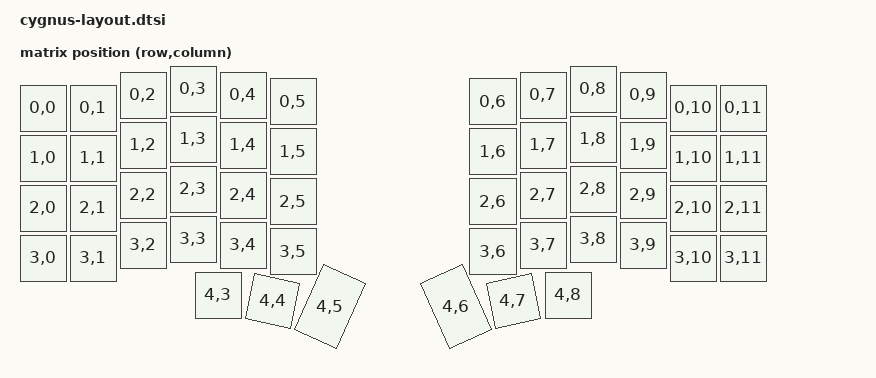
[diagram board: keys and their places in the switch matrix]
#include <dt-bindings/zmk/matrix_transform.h>
#include <physical_layouts.dtsi>

// Physical layout and matrix transform shared by the halves and the dongle.

/ {
    chosen {
        zmk,physical-layout = &physical_layout;
    };

    physical_layout: cygnus_layout {
        compatible = "zmk,physical-layout";
        display-name = "Cygnus";
        transform = <&default_transform>;

        // In hundredths of a key: w h x y rotation (hundredths of a degree) pivot-x pivot-y. The thumbs are
        // ZMK's Corne thumb fan moved under each half, so they are only roughly where the real ones are.
        keys
            = <&key_physical_attrs 100 100     0   38       0     0     0>
            , <&key_physical_attrs 100 100   100   38       0     0     0>
            , <&key_physical_attrs 100 100   200   12       0     0     0>
            , <&key_physical_attrs 100 100   300    0       0     0     0>
            , <&key_physical_attrs 100 100   400   12       0     0     0>
            , <&key_physical_attrs 100 100   500   25       0     0     0>
            , <&key_physical_attrs 100 100   900   25       0     0     0>
            , <&key_physical_attrs 100 100  1000   12       0     0     0>
            , <&key_physical_attrs 100 100  1100    0       0     0     0>
            , <&key_physical_attrs 100 100  1200   12       0     0     0>
            , <&key_physical_attrs 100 100  1300   38       0     0     0>
            , <&key_physical_attrs 100 100  1400   38       0     0     0>
            , <&key_physical_attrs 100 100     0  138       0     0     0>
            , <&key_physical_attrs 100 100   100  138       0     0     0>
            , <&key_physical_attrs 100 100   200  112       0     0     0>
            , <&key_physical_attrs 100 100   300  100       0     0     0>
            , <&key_physical_attrs 100 100   400  112       0     0     0>
            , <&key_physical_attrs 100 100   500  125       0     0     0>
            , <&key_physical_attrs 100 100   900  125       0     0     0>
            , <&key_physical_attrs 100 100  1000  112       0     0     0>
            , <&key_physical_attrs 100 100  1100  100       0     0     0>
            , <&key_physical_attrs 100 100  1200  112       0     0     0>
            , <&key_physical_attrs 100 100  1300  138       0     0     0>
            , <&key_physical_attrs 100 100  1400  138       0     0     0>
            , <&key_physical_attrs 100 100     0  238       0     0     0>
            , <&key_physical_attrs 100 100   100  238       0     0     0>
            , <&key_physical_attrs 100 100   200  212       0     0     0>
            , <&key_physical_attrs 100 100   300  200       0     0     0>
            , <&key_physical_attrs 100 100   400  212       0     0     0>
            , <&key_physical_attrs 100 100   500  225       0     0     0>
            , <&key_physical_attrs 100 100   900  225       0     0     0>
            , <&key_physical_attrs 100 100  1000  212       0     0     0>
            , <&key_physical_attrs 100 100  1100  200       0     0     0>
            , <&key_physical_attrs 100 100  1200  212       0     0     0>
            , <&key_physical_attrs 100 100  1300  238       0     0     0>
            , <&key_physical_attrs 100 100  1400  238       0     0     0>
            , <&key_physical_attrs 100 100     0  338       0     0     0>
            , <&key_physical_attrs 100 100   100  338       0     0     0>
            , <&key_physical_attrs 100 100   200  312       0     0     0>
            , <&key_physical_attrs 100 100   300  300       0     0     0>
            , <&key_physical_attrs 100 100   400  312       0     0     0>
            , <&key_physical_attrs 100 100   500  325       0     0     0>
            , <&key_physical_attrs 100 100   900  325       0     0     0>
            , <&key_physical_attrs 100 100  1000  312       0     0     0>
            , <&key_physical_attrs 100 100  1100  300       0     0     0>
            , <&key_physical_attrs 100 100  1200  312       0     0     0>
            , <&key_physical_attrs 100 100  1300  338       0     0     0>
            , <&key_physical_attrs 100 100  1400  338       0     0     0>
            , <&key_physical_attrs 100 100   350  412       0     0     0>
            , <&key_physical_attrs 100 100   450  412    1200   450   512>
            , <&key_physical_attrs 100 150   548  383    2400   548   533>
            , <&key_physical_attrs 100 150   852  383 (-2400)   952   533>
            , <&key_physical_attrs 100 100   950  412 (-1200)  1050   512>
            , <&key_physical_attrs 100 100  1050  412       0     0     0>
            ;
    };

    default_transform: keymap_transform_0 {
        compatible = "zmk,matrix-transform";
        columns = <12>;
        rows = <5>;
// | SW6  | SW5  | SW4  | SW3  | SW2  | SW1  |      | SW1  | SW2  | SW3  | SW4  | SW5  | SW6  |
// | SW12 | SW11 | SW10 | SW9  | SW8  | SW7  |      | SW7  | SW8  | SW9  | SW10 | SW11 | SW12 |
// | SW18 | SW17 | SW16 | SW15 | SW14 | SW13 |      | SW13 | SW14 | SW15 | SW16 | SW17 | SW18 |
// | SW24 | SW23 | SW22 | SW21 | SW20 | SW19 |      | SW19 | SW20 | SW21 | SW22 | SW23 | SW24 |
//                      | SW29 | SW28 | SW27 |      | SW27 | SW28 | SW29 |
        map = <
RC(0,0) RC(0,1) RC(0,2) RC(0,3) RC(0,4) RC(0,5)     RC(0,6) RC(0,7) RC(0,8) RC(0,9) RC(0,10) RC(0,11)
RC(1,0) RC(1,1) RC(1,2) RC(1,3) RC(1,4) RC(1,5)     RC(1,6) RC(1,7) RC(1,8) RC(1,9) RC(1,10) RC(1,11)
RC(2,0) RC(2,1) RC(2,2) RC(2,3) RC(2,4) RC(2,5)     RC(2,6) RC(2,7) RC(2,8) RC(2,9) RC(2,10) RC(2,11)
RC(3,0) RC(3,1) RC(3,2) RC(3,3) RC(3,4) RC(3,5)     RC(3,6) RC(3,7) RC(3,8) RC(3,9) RC(3,10) RC(3,11)
                        RC(4,3) RC(4,4) RC(4,5)     RC(4,6) RC(4,7) RC(4,8)
        >;
    };
};
